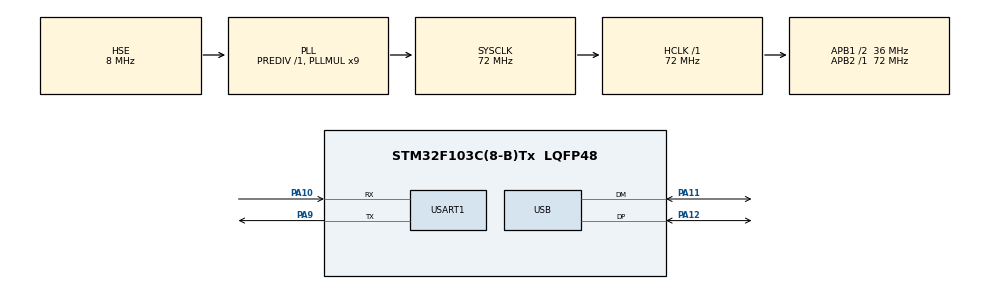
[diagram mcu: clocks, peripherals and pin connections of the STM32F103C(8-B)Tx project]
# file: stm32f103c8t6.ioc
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Mcu.Family=STM32F1
Mcu.Name=STM32F103C(8-B)Tx
Mcu.Package=LQFP48
NVIC.PriorityGroup=NVIC_PRIORITYGROUP_4
NVIC.USB_LP_CAN1_RX0_IRQn=true\:0\:0\:false\:false\:true\:true\:true\:true
PA10.Mode=Asynchronous
PA10.Signal=USART1_RX
PA11.Mode=Device
PA11.Signal=USB_DM
PA12.Mode=Device
PA12.Signal=USB_DP
PA13.Mode=Serial_Wire
PA13.Signal=SYS_JTMS-SWDIO
PA14.Mode=Serial_Wire
PA14.Signal=SYS_JTCK-SWCLK
PA9.Mode=Asynchronous
PA9.Signal=USART1_TX
PD0-OSC_IN.Mode=HSE-External-Oscillator
PD0-OSC_IN.Signal=RCC_OSC_IN
PD1-OSC_OUT.Mode=HSE-External-Oscillator
PD1-OSC_OUT.Signal=RCC_OSC_OUT
ProjectManager.HeapSize=0x400
ProjectManager.StackSize=0x400
ProjectManager.TargetToolchain=MDK-ARM V5.27
RCC.AHBFreq_Value=72000000
RCC.APB1CLKDivider=RCC_HCLK_DIV2
RCC.APB1Freq_Value=36000000
RCC.APB1TimFreq_Value=72000000
RCC.APB2Freq_Value=72000000
RCC.APB2TimFreq_Value=72000000
RCC.HCLKFreq_Value=72000000
RCC.PLLMUL=RCC_PLL_MUL9
RCC.SYSCLKFreq_VALUE=72000000
RCC.SYSCLKSource=RCC_SYSCLKSOURCE_PLLCLK
RCC.USBFreq_Value=48000000
RCC.USBPrescaler=RCC_USBCLKSOURCE_PLL_DIV1_5
USART1.VirtualMode=VM_ASYNC
board=custom

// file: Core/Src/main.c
/* USER CODE BEGIN Header */
/**
  ******************************************************************************
  * @file           : main.c
  * @brief          : Main program body
  ******************************************************************************
  * @attention
  *
  * <h2><center>&copy; Copyright (c) 2021 STMicroelectronics.
  * All rights reserved.</center></h2>
  *
  * This software component is licensed by ST under Ultimate Liberty license
  * SLA0044, the "License"; You may not use this file except in compliance with
  * the License. You may obtain a copy of the License at:
  *                             www.st.com/SLA0044
  *
  ******************************************************************************
  */
/* USER CODE END Header */
#include "main.h"

/* USER CODE BEGIN Includes */
#include "usbd_core.h"
/* USER CODE END Includes */

UART_HandleTypeDef huart1;

PCD_HandleTypeDef hpcd_USB_FS;

void SystemClock_Config(void);
static void MX_GPIO_Init(void);
static void MX_USART1_UART_Init(void);
static void MX_USB_PCD_Init(void);

/* USER CODE BEGIN 0 */
int fputc(int ch, FILE *f)
{
    while ((USART1->SR & USART_SR_TXE) == 0)
        ;
    USART1->DR = ch;
    return ch;
}

void usb_dc_low_level_init(void)
{
    /* Peripheral clock enable */
    __HAL_RCC_USB_CLK_ENABLE();
    /* USB interrupt Init */
    HAL_NVIC_SetPriority(USB_LP_CAN1_RX0_IRQn, 0, 0);
    HAL_NVIC_EnableIRQ(USB_LP_CAN1_RX0_IRQn);

}

/* USER CODE END 0 */

int main(void)
{

  /* MCU Configuration--------------------------------------------------------*/

  /* Reset of all peripherals, Initializes the Flash interface and the Systick. */
  HAL_Init();

  /* Configure the system clock */
  SystemClock_Config();

  /* Initialize all configured peripherals */
  MX_GPIO_Init();
  MX_USART1_UART_Init();
  MX_USB_PCD_Init();
  /* USER CODE BEGIN 2 */

    extern void cdc_acm_msc_init(uint8_t busid, uint32_t reg_base);
    cdc_acm_msc_init(0, USB_BASE);

  /* USER CODE END 2 */

  /* Infinite loop */
    while (1) {

    /* USER CODE BEGIN 3 */
        extern void cdc_acm_data_send_with_dtr_test(uint8_t busid);
        cdc_acm_data_send_with_dtr_test(0);
        HAL_Delay(100);
    }
  /* USER CODE END 3 */
}

void SystemClock_Config(void)
{
  RCC_OscInitTypeDef RCC_OscInitStruct = {0};
  RCC_ClkInitTypeDef RCC_ClkInitStruct = {0};
  RCC_PeriphCLKInitTypeDef PeriphClkInit = {0};

  /** Initializes the RCC Oscillators according to the specified parameters
  * in the RCC_OscInitTypeDef structure.
  */
  RCC_OscInitStruct.OscillatorType = RCC_OSCILLATORTYPE_HSE;
  RCC_OscInitStruct.HSEState = RCC_HSE_ON;
  RCC_OscInitStruct.HSEPredivValue = RCC_HSE_PREDIV_DIV1;
  RCC_OscInitStruct.HSIState = RCC_HSI_ON;
  RCC_OscInitStruct.PLL.PLLState = RCC_PLL_ON;
  RCC_OscInitStruct.PLL.PLLSource = RCC_PLLSOURCE_HSE;
  RCC_OscInitStruct.PLL.PLLMUL = RCC_PLL_MUL9;
  if (HAL_RCC_OscConfig(&RCC_OscInitStruct) != HAL_OK)
  {
    Error_Handler();
  }

  /** Initializes the CPU, AHB and APB buses clocks
  */
  RCC_ClkInitStruct.ClockType = RCC_CLOCKTYPE_HCLK|RCC_CLOCKTYPE_SYSCLK
                              |RCC_CLOCKTYPE_PCLK1|RCC_CLOCKTYPE_PCLK2;
  RCC_ClkInitStruct.SYSCLKSource = RCC_SYSCLKSOURCE_PLLCLK;
  RCC_ClkInitStruct.AHBCLKDivider = RCC_SYSCLK_DIV1;
  RCC_ClkInitStruct.APB1CLKDivider = RCC_HCLK_DIV2;
  RCC_ClkInitStruct.APB2CLKDivider = RCC_HCLK_DIV1;

  if (HAL_RCC_ClockConfig(&RCC_ClkInitStruct, FLASH_LATENCY_2) != HAL_OK)
  {
    Error_Handler();
  }
  PeriphClkInit.PeriphClockSelection = RCC_PERIPHCLK_USB;
  PeriphClkInit.UsbClockSelection = RCC_USBCLKSOURCE_PLL_DIV1_5;
  if (HAL_RCCEx_PeriphCLKConfig(&PeriphClkInit) != HAL_OK)
  {
    Error_Handler();
  }
}

static void MX_USART1_UART_Init(void)
{

  huart1.Instance = USART1;
  huart1.Init.BaudRate = 115200;
  huart1.Init.WordLength = UART_WORDLENGTH_8B;
  huart1.Init.StopBits = UART_STOPBITS_1;
  huart1.Init.Parity = UART_PARITY_NONE;
  huart1.Init.Mode = UART_MODE_TX_RX;
  huart1.Init.HwFlowCtl = UART_HWCONTROL_NONE;
  huart1.Init.OverSampling = UART_OVERSAMPLING_16;
  if (HAL_UART_Init(&huart1) != HAL_OK)
  {
    Error_Handler();
  }

}

static void MX_USB_PCD_Init(void)
{

  hpcd_USB_FS.Instance = USB;
  hpcd_USB_FS.Init.dev_endpoints = 8;
  hpcd_USB_FS.Init.speed = PCD_SPEED_FULL;
  hpcd_USB_FS.Init.low_power_enable = DISABLE;
  hpcd_USB_FS.Init.lpm_enable = DISABLE;
  hpcd_USB_FS.Init.battery_charging_enable = DISABLE;
  if (HAL_PCD_Init(&hpcd_USB_FS) != HAL_OK)
  {
    Error_Handler();
  }

}

static void MX_GPIO_Init(void)
{

  /* GPIO Ports Clock Enable */
  __HAL_RCC_GPIOD_CLK_ENABLE();
  __HAL_RCC_GPIOA_CLK_ENABLE();

}

void Error_Handler(void)
{
    __disable_irq();
    while (1) {
    }
}
